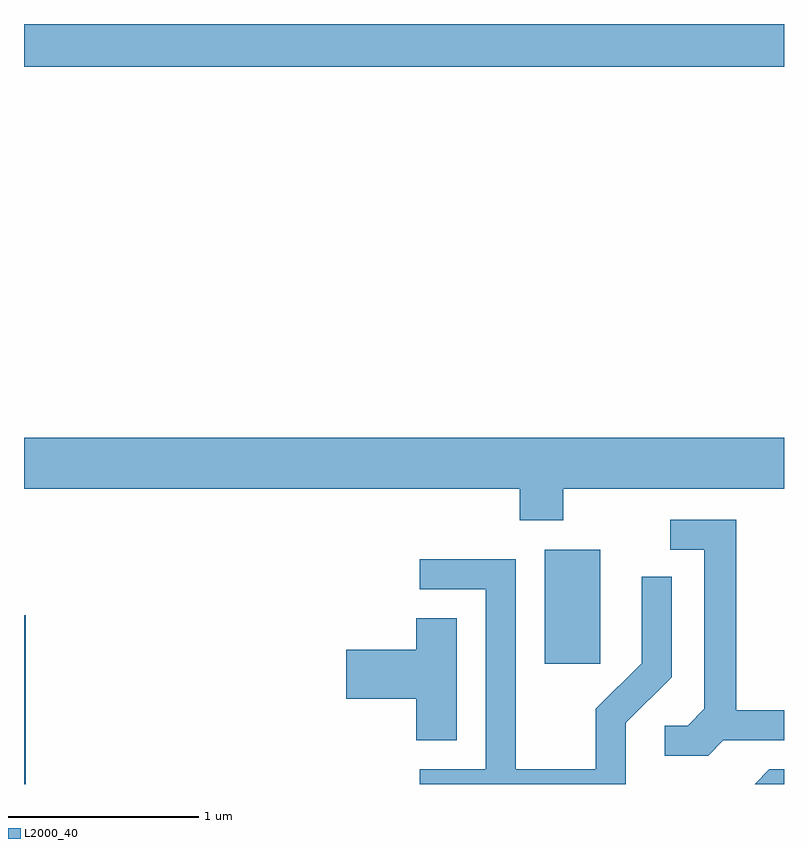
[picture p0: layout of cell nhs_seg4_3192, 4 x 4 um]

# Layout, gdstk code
import gdstk
lib = gdstk.Library(unit=1e-6, precision=1e-09)
def R(c, l, rs):  # rectangles x0, y0, x1, y1
    for r in rs: c.add(gdstk.rectangle(r[:2], r[2:], *l))
def P(c, l, *ps):  # polygons
    for p in ps: c.add(gdstk.Polygon(p, *l))
L2000_40 = (2000, 40)

nhs_seg4_3192 = lib.new_cell('nhs_seg4_3192')
R(nhs_seg4_3192, L2000_40, [(277.611,1381.982,277.619,1382.869), (280.351,1382.616,280.644,1383.214), (277.611,1385.756,281.611,1385.982)])
P(nhs_seg4_3192, L2000_40, [(280.449,1383.536),(281.611,1383.536),(281.611,1383.804),(277.611,1383.804),(277.611,1383.536),(280.221,1383.536),(280.221,1383.371),(280.449,1383.371)],
  [(281.292,1382.211),(281.611,1382.211),(281.611,1382.369),(281.359,1382.369),(281.359,1383.374),(281.013,1383.374),(281.013,1383.216),(281.191,1383.216),(281.191,1382.377),(281.104,1382.289),(280.983,1382.289),(280.983,1382.131),(281.212,1382.131)],
  [(280.779,1382.304),(281.019,1382.544),(281.019,1383.073),(280.861,1383.073),(280.861,1382.617),(280.621,1382.377),(280.621,1382.059),(280.199,1382.059),(280.199,1383.164),(279.693,1383.164),(279.693,1383.006),(280.041,1383.006),(280.041,1382.059),(279.693,1382.059),(279.693,1381.982),(280.779,1381.982)],
  [(279.889,1382.854),(279.676,1382.854),(279.676,1382.689),(279.306,1382.689),(279.306,1382.431),(279.676,1382.431),(279.676,1382.211),(279.889,1382.211)],
  [(281.611,1382.059),(281.534,1382.059),(281.457,1381.982),(281.611,1381.982)])

lib.write_gds('nhs_seg4_3192.gds')
